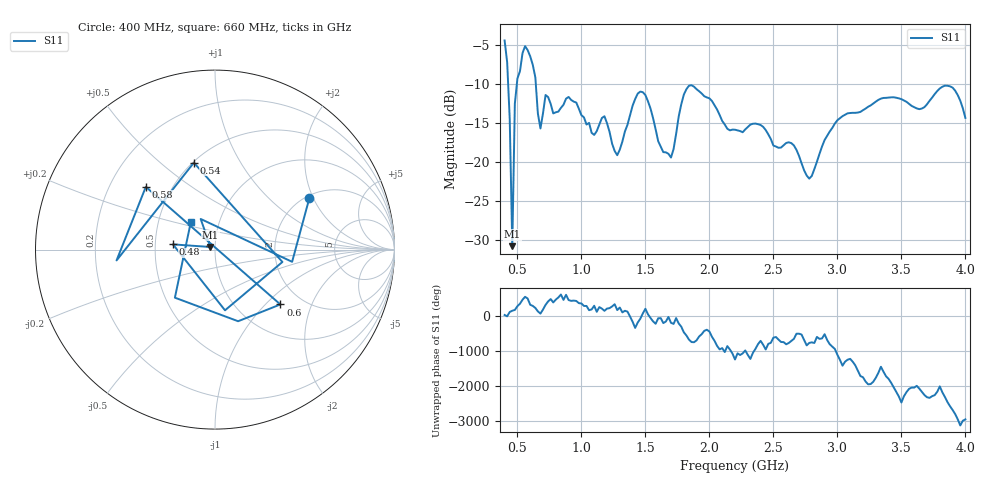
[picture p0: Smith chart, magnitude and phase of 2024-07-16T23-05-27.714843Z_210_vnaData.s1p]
!Created with skrf (http://scikit-rf.org).
# Hz S RI R 50.0
!freq ReS11 ImS11
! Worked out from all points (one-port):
!   181 points, 400 MHz to 4 GHz, reference 50 ohm
!   lowest |S11| = -30.7 dB at 460 MHz (marker M1), VSWR 1.06, Z = 47.5 + j1.37 ohm
!   |S11| at or under -10 dB: 427.6 MHz to 495.7 MHz (68.05 MHz wide, 14.7 % of centre); 643.7 MHz to end of sweep
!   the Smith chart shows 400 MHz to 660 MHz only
!   S11 on the Smith chart (normalised r, x): 400 MHz: 2.08, +1.88; 480 MHz: 0.62, +0.04; 540 MHz: 0.51, +0.65; 580 MHz: 0.36, +0.34; 600 MHz: 1.56, -1.23; 660 MHz: 0.73, +0.23
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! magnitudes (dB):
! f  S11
! 400 MHz  -4.4
! 420 MHz  -7.2
! 440 MHz  -14.5
! 460 MHz  -30.7
! 480 MHz  -12.5
! 540 MHz  -6.1
! 580 MHz  -5.7
! 600 MHz  -6.5
! 640 MHz  -9.1
! 660 MHz  -13.8
! 680 MHz  -15.7
! 720 MHz  -11.4
! 860 MHz  -12.7
! 960 MHz  -12.4
! 1.1 GHz  -16.5
! 1.18 GHz  -14.1
! 1.3 GHz  -18.4
! 1.46 GHz  -11.0
! 1.7 GHz  -19.4
! 1.76 GHz  -14.2
! 1.86 GHz  -10.2
! 2.2 GHz  -15.9
! 2.66 GHz  -17.9
! 2.78 GHz  -22.1
! 3.1 GHz  -13.7
! 3.56 GHz  -12.5
! 3.88 GHz  -10.3
! 4 GHz  -14.3
